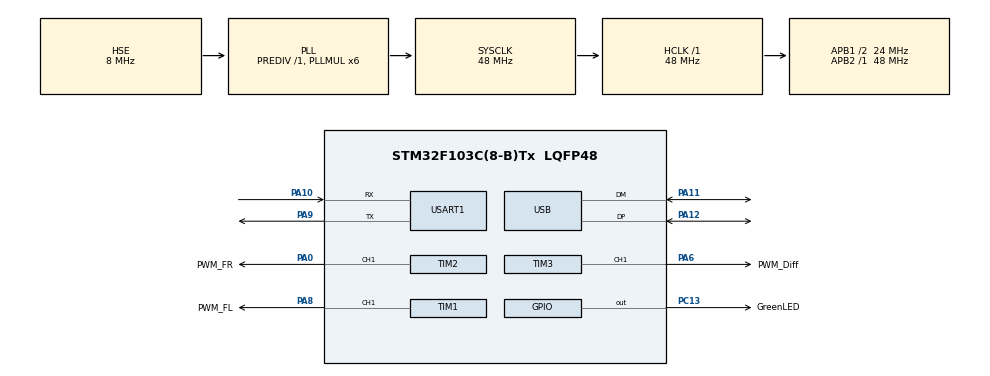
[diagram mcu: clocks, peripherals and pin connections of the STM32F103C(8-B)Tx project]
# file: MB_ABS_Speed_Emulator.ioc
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Mcu.Family=STM32F1
Mcu.Name=STM32F103C(8-B)Tx
Mcu.Package=LQFP48
NVIC.PriorityGroup=NVIC_PRIORITYGROUP_4
NVIC.USB_LP_CAN1_RX0_IRQn=true\:0\:0\:false\:false\:true\:false
PA0-WKUP.GPIO_Label=PWM_FR
PA0-WKUP.Signal=S_TIM2_CH1_ETR
PA10.Mode=Asynchronous
PA10.Signal=USART1_RX
PA11.Mode=Device
PA11.Signal=USB_DM
PA12.Mode=Device
PA12.Signal=USB_DP
PA13.Mode=Serial_Wire
PA13.Signal=SYS_JTMS-SWDIO
PA14.Mode=Serial_Wire
PA14.Signal=SYS_JTCK-SWCLK
PA6.GPIO_Label=PWM_Diff
PA6.Signal=S_TIM3_CH1
PA8.GPIO_Label=PWM_FL
PA8.Signal=S_TIM1_CH1
PA9.Mode=Asynchronous
PA9.Signal=USART1_TX
PC13-TAMPER-RTC.GPIO_Label=GreenLED
PC13-TAMPER-RTC.Signal=GPIO_Output
PC14-OSC32_IN.Mode=LSE-External-Oscillator
PC14-OSC32_IN.Signal=RCC_OSC32_IN
PC15-OSC32_OUT.Mode=LSE-External-Oscillator
PC15-OSC32_OUT.Signal=RCC_OSC32_OUT
PD0-OSC_IN.Mode=HSE-External-Oscillator
PD0-OSC_IN.Signal=RCC_OSC_IN
PD1-OSC_OUT.Mode=HSE-External-Oscillator
PD1-OSC_OUT.Signal=RCC_OSC_OUT
ProjectManager.HeapSize=0x200
ProjectManager.StackSize=0x400
ProjectManager.TargetToolchain=TrueSTUDIO
RCC.AHBFreq_Value=48000000
RCC.APB1CLKDivider=RCC_HCLK_DIV2
RCC.APB1Freq_Value=24000000
RCC.APB1TimFreq_Value=48000000
RCC.APB2Freq_Value=48000000
RCC.APB2TimFreq_Value=48000000
RCC.HCLKFreq_Value=48000000
RCC.PLLMUL=RCC_PLL_MUL6
RCC.PLLSourceVirtual=RCC_PLLSOURCE_HSE
RCC.SYSCLKFreq_VALUE=48000000
RCC.SYSCLKSource=RCC_SYSCLKSOURCE_PLLCLK
RCC.USBFreq_Value=48000000
SH.S_TIM1_CH1.0=TIM1_CH1,PWM Generation1 CH1
SH.S_TIM2_CH1_ETR.0=TIM2_CH1,PWM Generation1 CH1
SH.S_TIM3_CH1.0=TIM3_CH1,PWM Generation1 CH1
TIM1.AutoReloadPreload=TIM_AUTORELOAD_PRELOAD_ENABLE
TIM1.Channel-PWM\ Generation1\ CH1=TIM_CHANNEL_1
TIM1.Period=63
TIM1.Prescaler=16000
TIM1.Pulse-PWM\ Generation1\ CH1=31
TIM2.AutoReloadPreload=TIM_AUTORELOAD_PRELOAD_ENABLE
TIM2.Channel-PWM\ Generation1\ CH1=TIM_CHANNEL_1
TIM2.Period=63
TIM2.Prescaler=16000
TIM2.Pulse-PWM\ Generation1\ CH1=31
TIM3.AutoReloadPreload=TIM_AUTORELOAD_PRELOAD_ENABLE
TIM3.Channel-PWM\ Generation1\ CH1=TIM_CHANNEL_1
TIM3.Period=63
TIM3.Prescaler=16000
TIM3.Pulse-PWM\ Generation1\ CH1=31
USART1.VirtualMode=VM_ASYNC
USB_DEVICE.CLASS_NAME_FS=CDC
USB_DEVICE.VirtualMode=Cdc
USB_DEVICE.VirtualModeFS=Cdc_FS
VP_TIM1_VS_ClockSourceINT.Mode=Internal
VP_TIM2_VS_ClockSourceINT.Mode=Internal
VP_TIM3_VS_ClockSourceINT.Mode=Internal
VP_USB_DEVICE_VS_USB_DEVICE_CDC_FS.Mode=CDC_FS
board=MB_ABS_Speed_Emulator

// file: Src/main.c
/**
  ******************************************************************************
  * @file           : main.c
  * @brief          : Main program body
  ******************************************************************************
  * This notice applies to any and all portions of this file
  * that are not between comment pairs USER CODE BEGIN and
  * USER CODE END. Other portions of this file, whether
  * inserted by the user or by software development tools
  * are owned by their respective copyright owners.
  *
  * Copyright (c) 2018 STMicroelectronics International N.V.
  * All rights reserved.
  *
  * Redistribution and use in source and binary forms, with or without
  * modification, are permitted, provided that the following conditions are met:
  *
  * 1. Redistribution of source code must retain the above copyright notice,
  *    this list of conditions and the following disclaimer.
  * 2. Redistributions in binary form must reproduce the above copyright notice,
  *    this list of conditions and the following disclaimer in the documentation
  *    and/or other materials provided with the distribution.
  * 3. Neither the name of STMicroelectronics nor the names of other
  *    contributors to this software may be used to endorse or promote products
  *    derived from this software without specific written permission.
  * 4. This software, including modifications and/or derivative works of this
  *    software, must execute solely and exclusively on microcontroller or
  *    microprocessor devices manufactured by or for STMicroelectronics.
  * 5. Redistribution and use of this software other than as permitted under
  *    this license is void and will automatically terminate your rights under
  *    this license.
  *
  * THIS SOFTWARE IS PROVIDED BY STMICROELECTRONICS AND CONTRIBUTORS "AS IS"
  * AND ANY EXPRESS, IMPLIED OR STATUTORY WARRANTIES, INCLUDING, BUT NOT
  * LIMITED TO, THE IMPLIED WARRANTIES OF MERCHANTABILITY, FITNESS FOR A
  * PARTICULAR PURPOSE AND NON-INFRINGEMENT OF THIRD PARTY INTELLECTUAL PROPERTY
  * RIGHTS ARE DISCLAIMED TO THE FULLEST EXTENT PERMITTED BY LAW. IN NO EVENT
  * SHALL STMICROELECTRONICS OR CONTRIBUTORS BE LIABLE FOR ANY DIRECT, INDIRECT,
  * INCIDENTAL, SPECIAL, EXEMPLARY, OR CONSEQUENTIAL DAMAGES (INCLUDING, BUT NOT
  * LIMITED TO, PROCUREMENT OF SUBSTITUTE GOODS OR SERVICES; LOSS OF USE, DATA,
  * OR PROFITS; OR BUSINESS INTERRUPTION) HOWEVER CAUSED AND ON ANY THEORY OF
  * LIABILITY, WHETHER IN CONTRACT, STRICT LIABILITY, OR TORT (INCLUDING
  * NEGLIGENCE OR OTHERWISE) ARISING IN ANY WAY OUT OF THE USE OF THIS SOFTWARE,
  * EVEN IF ADVISED OF THE POSSIBILITY OF SUCH DAMAGE.
  *
  ******************************************************************************
  */
#include "main.h"
#include "stm32f1xx_hal.h"
#include "usb_device.h"

/* USER CODE BEGIN Includes */

#include "settings.h"
#include "eeprom.h"
#include "cli.h"
#include "led_blink.h"
#include "pulse_generator.h"

/* USER CODE END Includes */

TIM_HandleTypeDef htim1;
TIM_HandleTypeDef htim2;
TIM_HandleTypeDef htim3;

UART_HandleTypeDef huart1;

/* USER CODE BEGIN PV */
/* Private variables ---------------------------------------------------------*/

/* USER CODE END PV */

void SystemClock_Config(void);
static void MX_GPIO_Init(void);
static void MX_TIM3_Init(void);
static void MX_TIM1_Init(void);
static void MX_TIM2_Init(void);
static void MX_USART1_UART_Init(void);
void HAL_TIM_MspPostInit(TIM_HandleTypeDef *htim);

/* USER CODE BEGIN PFP */
/* Private function prototypes -----------------------------------------------*/

extern void Restore_Settings(void);

/* USER CODE END PFP */

/* USER CODE BEGIN 0 */

/**
  * @brief  Retargets the C library printf function to the USART.
  * @param  None
  * @retval None
  */
int __io_putchar(int ch)
{
  /* Place your implementation of fputc here */
  /* e.g. write a character to the USART1 and Loop until the end of transmission */

  HAL_UART_Transmit(&huart1, (uint8_t *)&ch, 1, 0xFFFF);
  return ch;
}

/* USER CODE END 0 */

int main(void)
{

  /* MCU Configuration----------------------------------------------------------*/

  /* Reset of all peripherals, Initializes the Flash interface and the Systick. */
  HAL_Init();

  /* USER CODE BEGIN Init */

  /* Unlock the Flash Program Erase controller */
  HAL_FLASH_Unlock();

  /* EEPROM Init */
  EE_Init();

  /* Lock the Flash Program Erase controller */
  HAL_FLASH_Lock();

  /* USER CODE END Init */

  /* Configure the system clock */
  SystemClock_Config();

  /* Initialize all configured peripherals */
  MX_GPIO_Init();
  MX_TIM3_Init();
  MX_TIM1_Init();
  MX_TIM2_Init();
  MX_USART1_UART_Init();
  MX_USB_DEVICE_Init();
  /* USER CODE BEGIN 2 */

  #define TIM_FRONT_LEFT  	&htim1
  #define TIM_FRONT_RIGHT 	&htim2
  #define TIM_DIFF			&htim3

  HAL_TIM_PWM_Start(TIM_FRONT_LEFT,	 	TIM_CHANNEL_1);
  HAL_TIM_PWM_Start(TIM_FRONT_RIGHT, 	TIM_CHANNEL_1);
  HAL_TIM_PWM_Start(TIM_DIFF,			TIM_CHANNEL_1);

//  pulse_generator_set_speed_FL(0.123);
//  pulse_generator_set_speed_FR(0.234);
//  pulse_generator_set_speed_DIFF(0.456);

	// Restore some data from EEPROM
	Restore_Settings();

  /* USER CODE END 2 */

  /* Infinite loop */
  while (1)
  {

  /* USER CODE BEGIN 3 */

	  // Blink LED -> we can see it's alive
	  LedBlink_run();

	  CLI_run();

  }
  /* USER CODE END 3 */

}

void SystemClock_Config(void)
{

  RCC_OscInitTypeDef RCC_OscInitStruct;
  RCC_ClkInitTypeDef RCC_ClkInitStruct;
  RCC_PeriphCLKInitTypeDef PeriphClkInit;

    /**Initializes the CPU, AHB and APB busses clocks
    */
  RCC_OscInitStruct.OscillatorType = RCC_OSCILLATORTYPE_HSE;
  RCC_OscInitStruct.HSEState = RCC_HSE_ON;
  RCC_OscInitStruct.HSEPredivValue = RCC_HSE_PREDIV_DIV1;
  RCC_OscInitStruct.HSIState = RCC_HSI_ON;
  RCC_OscInitStruct.PLL.PLLState = RCC_PLL_ON;
  RCC_OscInitStruct.PLL.PLLSource = RCC_PLLSOURCE_HSE;
  RCC_OscInitStruct.PLL.PLLMUL = RCC_PLL_MUL6;
  if (HAL_RCC_OscConfig(&RCC_OscInitStruct) != HAL_OK)
  {
    _Error_Handler(__FILE__, __LINE__);
  }

    /**Initializes the CPU, AHB and APB busses clocks
    */
  RCC_ClkInitStruct.ClockType = RCC_CLOCKTYPE_HCLK|RCC_CLOCKTYPE_SYSCLK
                              |RCC_CLOCKTYPE_PCLK1|RCC_CLOCKTYPE_PCLK2;
  RCC_ClkInitStruct.SYSCLKSource = RCC_SYSCLKSOURCE_PLLCLK;
  RCC_ClkInitStruct.AHBCLKDivider = RCC_SYSCLK_DIV1;
  RCC_ClkInitStruct.APB1CLKDivider = RCC_HCLK_DIV2;
  RCC_ClkInitStruct.APB2CLKDivider = RCC_HCLK_DIV1;

  if (HAL_RCC_ClockConfig(&RCC_ClkInitStruct, FLASH_LATENCY_1) != HAL_OK)
  {
    _Error_Handler(__FILE__, __LINE__);
  }

  PeriphClkInit.PeriphClockSelection = RCC_PERIPHCLK_USB;
  PeriphClkInit.UsbClockSelection = RCC_USBCLKSOURCE_PLL;
  if (HAL_RCCEx_PeriphCLKConfig(&PeriphClkInit) != HAL_OK)
  {
    _Error_Handler(__FILE__, __LINE__);
  }

    /**Configure the Systick interrupt time
    */
  HAL_SYSTICK_Config(HAL_RCC_GetHCLKFreq()/1000);

    /**Configure the Systick
    */
  HAL_SYSTICK_CLKSourceConfig(SYSTICK_CLKSOURCE_HCLK);

  /* SysTick_IRQn interrupt configuration */
  HAL_NVIC_SetPriority(SysTick_IRQn, 3, 0);
}

/* TIM1 init function */
static void MX_TIM1_Init(void)
{

  TIM_ClockConfigTypeDef sClockSourceConfig;
  TIM_MasterConfigTypeDef sMasterConfig;
  TIM_OC_InitTypeDef sConfigOC;
  TIM_BreakDeadTimeConfigTypeDef sBreakDeadTimeConfig;

  htim1.Instance = TIM1;
  htim1.Init.Prescaler = 16000;
  htim1.Init.CounterMode = TIM_COUNTERMODE_UP;
  htim1.Init.Period = 63;
  htim1.Init.ClockDivision = TIM_CLOCKDIVISION_DIV1;
  htim1.Init.RepetitionCounter = 0;
  htim1.Init.AutoReloadPreload = TIM_AUTORELOAD_PRELOAD_ENABLE;
  if (HAL_TIM_Base_Init(&htim1) != HAL_OK)
  {
    _Error_Handler(__FILE__, __LINE__);
  }

  sClockSourceConfig.ClockSource = TIM_CLOCKSOURCE_INTERNAL;
  if (HAL_TIM_ConfigClockSource(&htim1, &sClockSourceConfig) != HAL_OK)
  {
    _Error_Handler(__FILE__, __LINE__);
  }

  if (HAL_TIM_PWM_Init(&htim1) != HAL_OK)
  {
    _Error_Handler(__FILE__, __LINE__);
  }

  sMasterConfig.MasterOutputTrigger = TIM_TRGO_RESET;
  sMasterConfig.MasterSlaveMode = TIM_MASTERSLAVEMODE_DISABLE;
  if (HAL_TIMEx_MasterConfigSynchronization(&htim1, &sMasterConfig) != HAL_OK)
  {
    _Error_Handler(__FILE__, __LINE__);
  }

  sConfigOC.OCMode = TIM_OCMODE_PWM1;
  sConfigOC.Pulse = 31;
  sConfigOC.OCPolarity = TIM_OCPOLARITY_HIGH;
  sConfigOC.OCNPolarity = TIM_OCNPOLARITY_HIGH;
  sConfigOC.OCFastMode = TIM_OCFAST_DISABLE;
  sConfigOC.OCIdleState = TIM_OCIDLESTATE_RESET;
  sConfigOC.OCNIdleState = TIM_OCNIDLESTATE_RESET;
  if (HAL_TIM_PWM_ConfigChannel(&htim1, &sConfigOC, TIM_CHANNEL_1) != HAL_OK)
  {
    _Error_Handler(__FILE__, __LINE__);
  }

  sBreakDeadTimeConfig.OffStateRunMode = TIM_OSSR_DISABLE;
  sBreakDeadTimeConfig.OffStateIDLEMode = TIM_OSSI_DISABLE;
  sBreakDeadTimeConfig.LockLevel = TIM_LOCKLEVEL_OFF;
  sBreakDeadTimeConfig.DeadTime = 0;
  sBreakDeadTimeConfig.BreakState = TIM_BREAK_DISABLE;
  sBreakDeadTimeConfig.BreakPolarity = TIM_BREAKPOLARITY_HIGH;
  sBreakDeadTimeConfig.AutomaticOutput = TIM_AUTOMATICOUTPUT_DISABLE;
  if (HAL_TIMEx_ConfigBreakDeadTime(&htim1, &sBreakDeadTimeConfig) != HAL_OK)
  {
    _Error_Handler(__FILE__, __LINE__);
  }

  HAL_TIM_MspPostInit(&htim1);

}

/* TIM2 init function */
static void MX_TIM2_Init(void)
{

  TIM_ClockConfigTypeDef sClockSourceConfig;
  TIM_MasterConfigTypeDef sMasterConfig;
  TIM_OC_InitTypeDef sConfigOC;

  htim2.Instance = TIM2;
  htim2.Init.Prescaler = 16000;
  htim2.Init.CounterMode = TIM_COUNTERMODE_UP;
  htim2.Init.Period = 63;
  htim2.Init.ClockDivision = TIM_CLOCKDIVISION_DIV1;
  htim2.Init.AutoReloadPreload = TIM_AUTORELOAD_PRELOAD_ENABLE;
  if (HAL_TIM_Base_Init(&htim2) != HAL_OK)
  {
    _Error_Handler(__FILE__, __LINE__);
  }

  sClockSourceConfig.ClockSource = TIM_CLOCKSOURCE_INTERNAL;
  if (HAL_TIM_ConfigClockSource(&htim2, &sClockSourceConfig) != HAL_OK)
  {
    _Error_Handler(__FILE__, __LINE__);
  }

  if (HAL_TIM_PWM_Init(&htim2) != HAL_OK)
  {
    _Error_Handler(__FILE__, __LINE__);
  }

  sMasterConfig.MasterOutputTrigger = TIM_TRGO_RESET;
  sMasterConfig.MasterSlaveMode = TIM_MASTERSLAVEMODE_DISABLE;
  if (HAL_TIMEx_MasterConfigSynchronization(&htim2, &sMasterConfig) != HAL_OK)
  {
    _Error_Handler(__FILE__, __LINE__);
  }

  sConfigOC.OCMode = TIM_OCMODE_PWM1;
  sConfigOC.Pulse = 31;
  sConfigOC.OCPolarity = TIM_OCPOLARITY_HIGH;
  sConfigOC.OCFastMode = TIM_OCFAST_DISABLE;
  if (HAL_TIM_PWM_ConfigChannel(&htim2, &sConfigOC, TIM_CHANNEL_1) != HAL_OK)
  {
    _Error_Handler(__FILE__, __LINE__);
  }

  HAL_TIM_MspPostInit(&htim2);

}

/* TIM3 init function */
static void MX_TIM3_Init(void)
{

  TIM_ClockConfigTypeDef sClockSourceConfig;
  TIM_MasterConfigTypeDef sMasterConfig;
  TIM_OC_InitTypeDef sConfigOC;

  htim3.Instance = TIM3;
  htim3.Init.Prescaler = 16000;
  htim3.Init.CounterMode = TIM_COUNTERMODE_UP;
  htim3.Init.Period = 63;
  htim3.Init.ClockDivision = TIM_CLOCKDIVISION_DIV1;
  htim3.Init.AutoReloadPreload = TIM_AUTORELOAD_PRELOAD_ENABLE;
  if (HAL_TIM_Base_Init(&htim3) != HAL_OK)
  {
    _Error_Handler(__FILE__, __LINE__);
  }

  sClockSourceConfig.ClockSource = TIM_CLOCKSOURCE_INTERNAL;
  if (HAL_TIM_ConfigClockSource(&htim3, &sClockSourceConfig) != HAL_OK)
  {
    _Error_Handler(__FILE__, __LINE__);
  }

  if (HAL_TIM_PWM_Init(&htim3) != HAL_OK)
  {
    _Error_Handler(__FILE__, __LINE__);
  }

  sMasterConfig.MasterOutputTrigger = TIM_TRGO_RESET;
  sMasterConfig.MasterSlaveMode = TIM_MASTERSLAVEMODE_DISABLE;
  if (HAL_TIMEx_MasterConfigSynchronization(&htim3, &sMasterConfig) != HAL_OK)
  {
    _Error_Handler(__FILE__, __LINE__);
  }

  sConfigOC.OCMode = TIM_OCMODE_PWM1;
  sConfigOC.Pulse = 31;
  sConfigOC.OCPolarity = TIM_OCPOLARITY_HIGH;
  sConfigOC.OCFastMode = TIM_OCFAST_DISABLE;
  if (HAL_TIM_PWM_ConfigChannel(&htim3, &sConfigOC, TIM_CHANNEL_1) != HAL_OK)
  {
    _Error_Handler(__FILE__, __LINE__);
  }

  HAL_TIM_MspPostInit(&htim3);

}

/* USART1 init function */
static void MX_USART1_UART_Init(void)
{

  huart1.Instance = USART1;
  huart1.Init.BaudRate = 115200;
  huart1.Init.WordLength = UART_WORDLENGTH_8B;
  huart1.Init.StopBits = UART_STOPBITS_1;
  huart1.Init.Parity = UART_PARITY_NONE;
  huart1.Init.Mode = UART_MODE_TX_RX;
  huart1.Init.HwFlowCtl = UART_HWCONTROL_NONE;
  huart1.Init.OverSampling = UART_OVERSAMPLING_16;
  if (HAL_UART_Init(&huart1) != HAL_OK)
  {
    _Error_Handler(__FILE__, __LINE__);
  }

}

/** Configure pins as
        * Analog
        * Input
        * Output
        * EVENT_OUT
        * EXTI
*/
static void MX_GPIO_Init(void)
{

  GPIO_InitTypeDef GPIO_InitStruct;

  /* GPIO Ports Clock Enable */
  __HAL_RCC_GPIOC_CLK_ENABLE();
  __HAL_RCC_GPIOD_CLK_ENABLE();
  __HAL_RCC_GPIOA_CLK_ENABLE();

  /*Configure GPIO pin Output Level */
  HAL_GPIO_WritePin(GreenLED_GPIO_Port, GreenLED_Pin, GPIO_PIN_RESET);

  /*Configure GPIO pin : GreenLED_Pin */
  GPIO_InitStruct.Pin = GreenLED_Pin;
  GPIO_InitStruct.Mode = GPIO_MODE_OUTPUT_PP;
  GPIO_InitStruct.Speed = GPIO_SPEED_FREQ_LOW;
  HAL_GPIO_Init(GreenLED_GPIO_Port, &GPIO_InitStruct);

}

void _Error_Handler(char *file, int line)
{
  while(1)
  {
  }
}

/************************ (C) COPYRIGHT STMicroelectronics *****END OF FILE****/
